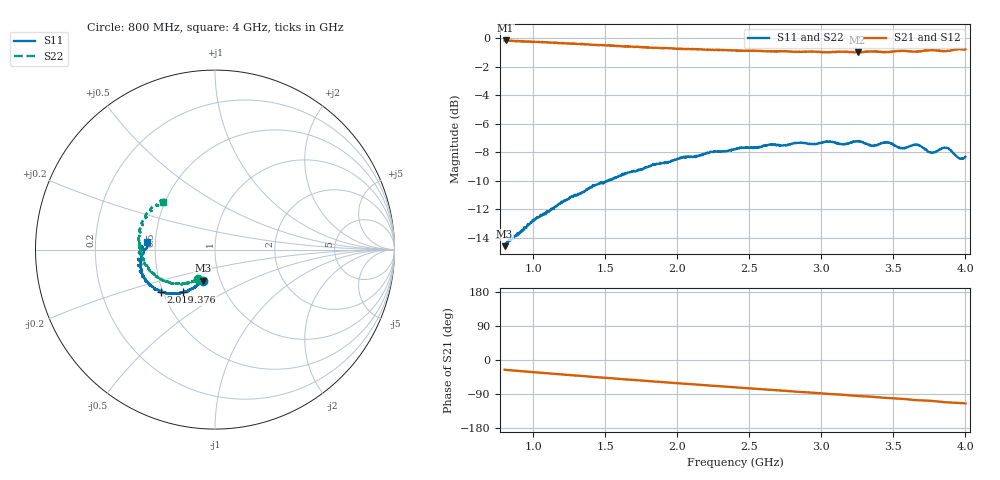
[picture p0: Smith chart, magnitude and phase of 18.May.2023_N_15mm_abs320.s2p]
!Keysight Technologies N9950B: A.12.38
!Date: Thursday, 18 May 2023 16:50:16
!Timezone: (UTC-06:00) Central Time (US & Canada)
!Model: N9950B
!Serial: MY61131330
!GPS Latitude:
!GPS Longitude:
!GPS TimeStamp: 0001-01-01 00:00:00Z
!GPS Seconds Since Last Read: 0
!CHECKSUM:0952326884
!Correction: S11(ON U)S21(ON U)S12(ON U)S22(ON U)
!S2P File: Measurements:S11,S21,S12,S22:
# Hz S DB R 50
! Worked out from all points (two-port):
!   1001 points, 800 MHz to 4 GHz, reference 50 ohm
!   highest |S21| = -0.17 dB at 806.4 MHz (marker M1); lowest = -1.0 dB at 3.251 GHz (marker M2)
!   |S21| within 3 dB of the highest: start of sweep to end of sweep
!   lowest |S11| = -14.6 dB at 800 MHz (marker M3), VSWR 1.46, Z = 41.2 - j14.8 ohm
!   |S11| at or under -10 dB: start of sweep to 1.516 GHz
!   |S22| runs from -14.6 to -7.2 dB; largest |S21 - S12| = 0.0051
!   S11 on the Smith chart (normalised r, x): 800 MHz: 0.82, -0.30; 1.376 GHz: 0.63, -0.33; 2.019 GHz: 0.49, -0.27; 4 GHz: 0.45, +0.05
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8e8  -14.57 -111.5  -0.19 -25.8  -0.20 -25.8  -14.57 -120.0
8.064e8  -14.41 -112.7  -0.17 -26.0  -0.19 -26.1  -14.50 -120.1
1.0112e9  -12.68 -117.5  -0.27 -32.4  -0.27 -32.3  -12.69 -127.5
1.3344e9  -10.85 -125.5  -0.44 -42.0  -0.44 -42.1  -10.80 -139.0
1.376e9  -10.60 -126.5  -0.44 -43.4  -0.46 -43.5  -10.56 -140.0
1.8688e9  -8.80 -137.8  -0.69 -57.5  -0.70 -57.5  -8.73 -157.1
2.0192e9  -8.36 -141.7  -0.77 -61.9  -0.76 -61.9  -8.40 -161.9
2.4e9  -7.81 -150.3  -0.88 -72.2  -0.87 -72.1  -7.75 -174.2
2.7072e9  -7.54 -155.5  -0.93 -80.2  -0.94 -80.2  -7.51 174.9
2.8288e9  -7.35 -159.5  -0.97 -83.7  -0.98 -83.6  -7.34 172.1
2.9344e9  -7.42 -159.9  -0.94 -86.2  -0.97 -86.2  -7.43 167.6
3.2512e9  -7.24 -168.5  -1.01 -94.9  -1.01 -94.9  -7.26 158.7
3.3536e9  -7.54 -168.7  -0.93 -97.0  -0.94 -97.1  -7.47 154.9
3.4176e9  -7.37 -172.7  -0.99 -99.2  -0.98 -99.2  -7.37 154.1
3.4688e9  -7.35 -172.7  -0.99 -100.7  -0.98 -100.7  -7.34 151.6
3.5328e9  -7.64 -172.2  -0.91 -101.8  -0.92 -101.9  -7.62 148.8
3.632e9  -7.52 -177.7  -0.94 -105.0  -0.96 -105.0  -7.46 147.8
3.7312e9  -7.84 -176.2  -0.86 -107.2  -0.88 -107.2  -7.85 142.1
3.8336e9  -7.73 177.3  -0.90 -110.4  -0.91 -110.6  -7.71 141.9
3.8816e9  -7.72 178.7  -0.89 -111.8  -0.91 -111.8  -7.82 138.2
3.9296e9  -8.20 -179.9  -0.81 -112.7  -0.82 -112.7  -8.12 135.4
4e9  -8.31 173.4  -0.80 -114.6  -0.81 -114.7  -8.17 137.3
